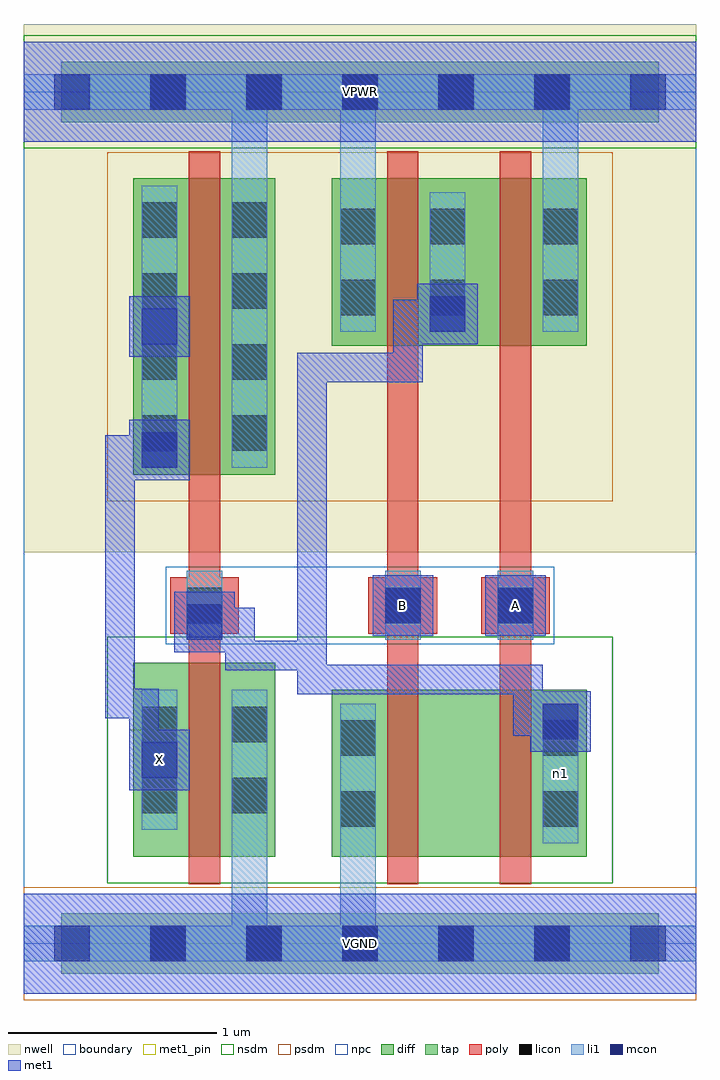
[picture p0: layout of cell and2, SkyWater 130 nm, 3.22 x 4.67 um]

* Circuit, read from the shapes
.subckt and2 A B VGND VPWR X n1
XM1 VGND n1 X VGND sky130_fd_pr__nfet_01v8 w=0.93 l=0.15
XM2 n2 B VGND VGND sky130_fd_pr__nfet_01v8 w=0.8 l=0.15
XM3 n1 A n2 VGND sky130_fd_pr__nfet_01v8 w=0.8 l=0.15
XM4 VPWR n1 X VPWR sky130_fd_pr__pfet_01v8 w=1.42 l=0.15
XM5 n1 B VPWR VPWR sky130_fd_pr__pfet_01v8 w=0.8 l=0.15
XM6 VPWR A n1 VPWR sky130_fd_pr__pfet_01v8 w=0.8 l=0.15
.ends

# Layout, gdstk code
import gdstk
lib = gdstk.Library(unit=1e-6, precision=1e-09)
def R(c, l, rs):  # rectangles x0, y0, x1, y1
    for r in rs: c.add(gdstk.rectangle(r[:2], r[2:], *l))
def A(c, l, x, y, w, h, nx, ny, dx, dy):  # array of equal rectangles
    R(c, l, [(x+i*dx, y+j*dy, x+i*dx+w, y+j*dy+h) for i in range(nx) for j in range(ny)])
nwell = (64, 20)
diff = (65, 20)
tap = (65, 44)
poly = (66, 20)
licon = (66, 44)
li1 = (67, 20)
mcon = (67, 44)
met1_pin = (68, 16)
met1 = (68, 20)
nsdm = (93, 44)
psdm = (94, 20)
npc = (95, 20)
boundary = (235, 4)

and2 = lib.new_cell('and2')
R(and2, nwell, [(0,1.875,3.22,4.405)])
R(and2, diff, [(0.525,0.415,1.205,1.345), (1.475,0.415,2.695,1.215), (0.525,2.245,1.205,3.665), (1.475,2.865,2.695,3.665)])
R(and2, tap, [(0.18,-0.145,3.04,0.145), (0.18,3.935,3.04,4.225)])
R(and2, poly, [(0.79,0.285,0.94,3.795), (1.74,0.285,1.89,3.795), (2.28,0.285,2.43,3.795), (0.7,1.485,1.03,1.755), (1.65,1.485,1.98,1.755), (2.19,1.485,2.52,1.755)])
A(and2, licon, 0.605, -0.085, 0.17, 0.17, 5, 2, 0.46, 4.08)
A(and2, licon, 0.565, 2.36, 0.17, 0.17, 1, 4, 0, 0.34)
A(and2, licon, 0.995, 2.36, 0.17, 0.17, 1, 4, 0, 0.34)
R(and2, licon, [(1.515,0.56,1.685,0.73), (2.485,0.56,2.655,0.73), (0.565,0.625,0.735,0.795), (0.995,0.625,1.165,0.795), (1.515,0.9,1.685,1.07), (2.485,0.9,2.655,1.07), (0.565,0.965,0.735,1.135), (0.995,0.965,1.165,1.135), (0.78,1.535,0.95,1.705), (1.73,1.535,1.9,1.705), (2.27,1.535,2.44,1.705), (1.515,3.01,1.685,3.18), (1.945,3.01,2.115,3.18), (2.485,3.01,2.655,3.18), (1.515,3.35,1.685,3.52), (1.945,3.35,2.115,3.52), (2.485,3.35,2.655,3.52)])
R(and2, li1, [(0,-0.085,3.22,0.085), (0.995,-0.085,1.165,1.215), (1.515,-0.085,1.685,1.15), (1.515,0.48,1.685,1.15), (2.485,0.48,2.655,1.15), (0.565,0.545,0.735,1.215), (0.995,0.545,1.165,1.215), (0.78,1.455,0.95,1.785), (1.73,1.455,1.9,1.785), (2.27,1.455,2.44,1.785), (0.565,2.28,0.735,3.63), (0.995,2.28,1.165,3.63), (0.995,2.28,1.165,4.165), (1.515,2.93,1.685,3.6), (1.515,2.93,1.685,4.165), (1.945,2.93,2.115,3.6), (2.485,2.93,2.655,3.6), (2.485,2.93,2.655,4.165), (0,3.995,3.22,4.165)])
A(and2, mcon, 0.145, -0.085, 0.17, 0.17, 7, 2, 0.46, 4.08)
R(and2, mcon, [(0.565,0.795,0.735,0.965), (2.485,0.98,2.655,1.15), (0.78,1.455,0.95,1.625), (1.73,1.535,1.9,1.705), (2.27,1.535,2.44,1.705), (0.565,2.28,0.735,2.45), (0.565,2.87,0.735,3.04), (1.945,2.93,2.115,3.1)])
R(and2, met1_pin, [(0,-0.24,3.22,0.24), (0.505,0.735,0.795,1.025), (1.67,1.475,1.96,1.765), (2.21,1.475,2.5,1.765), (0,3.84,3.22,4.32)])
R(and2, met1, [(0,-0.24,3.22,0.24), (0.505,0.735,0.795,1.025), (0.505,0.85,0.645,0.99), (0.505,0.85,0.645,1.22), (2.425,0.92,2.715,1.21), (2.345,0.995,2.64,1.135), (2.345,0.995,2.485,1.335), (0.39,1.08,0.645,1.22), (0.39,1.08,0.53,2.255), (1.31,1.195,1.45,1.45), (1.31,1.195,2.485,1.335), (0.965,1.31,1.105,1.61), (0.965,1.31,1.45,1.45), (1.31,1.31,1.45,2.83), (0.72,1.395,1.01,1.685), (0.795,1.47,1.105,1.61), (1.67,1.475,1.96,1.765), (2.21,1.475,2.5,1.765), (0.39,2.115,0.53,2.435), (0.505,2.22,0.795,2.51), (0.39,2.295,0.72,2.435), (1.31,2.69,1.91,2.83), (1.77,2.69,1.91,2.945), (1.77,2.805,1.91,3.085), (0.505,2.81,0.795,3.1), (1.885,2.87,2.175,3.16), (1.77,2.945,2.1,3.085), (0,3.84,3.22,4.32)])
R(and2, nsdm, [(0.4,0.29,2.82,1.47), (0,3.81,3.22,4.35)])
R(and2, psdm, [(0,-0.27,3.22,0.27), (0.4,2.12,2.82,3.79)])
R(and2, npc, [(0.68,1.435,2.54,1.805)])
R(and2, boundary, [(0,0,3.22,4.08)])
and2.add(gdstk.Label('n1', (2.57,0.815), layer=67, texttype=5))
and2.add(gdstk.Label('A', (2.355,1.62), layer=68, texttype=5))
and2.add(gdstk.Label('B', (1.815,1.62), layer=68, texttype=5))
and2.add(gdstk.Label('X', (0.65,0.88), layer=68, texttype=5))
and2.add(gdstk.Label('VPWR', (1.61,4.08), layer=68, texttype=5))
and2.add(gdstk.Label('VGND', (1.61,0), layer=68, texttype=5))
and2.add(gdstk.Label('A', (2.355,1.62), layer=68, texttype=16))
and2.add(gdstk.Label('B', (1.815,1.62), layer=68, texttype=16))
and2.add(gdstk.Label('X', (0.65,0.88), layer=68, texttype=16))
and2.add(gdstk.Label('VPWR', (1.61,4.08), layer=68, texttype=16))
and2.add(gdstk.Label('VGND', (1.61,0), layer=68, texttype=16))

lib.write_gds('and2.gds')
